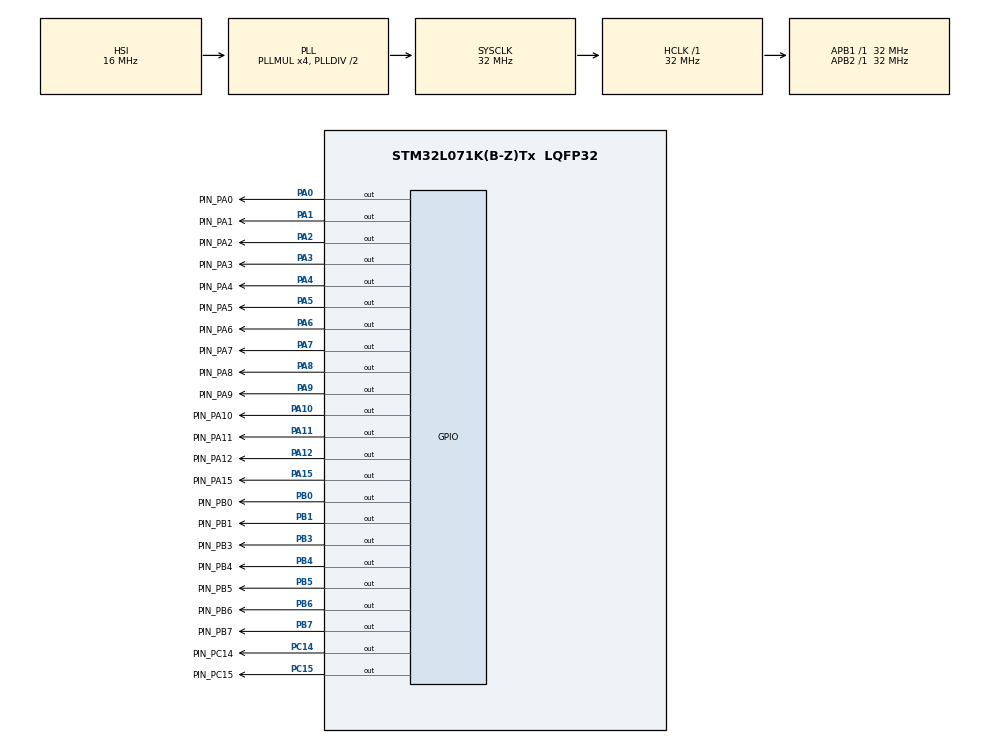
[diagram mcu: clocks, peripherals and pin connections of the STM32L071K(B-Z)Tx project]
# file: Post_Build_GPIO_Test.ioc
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Mcu.Family=STM32L0
Mcu.Name=STM32L071K(B-Z)Tx
Mcu.Package=LQFP32
PA0.GPIO_Label=PIN_PA0
PA0.GPIO_Speed=GPIO_SPEED_FREQ_VERY_HIGH
PA0.Signal=GPIO_Output
PA1.GPIO_Label=PIN_PA1
PA1.GPIO_Speed=GPIO_SPEED_FREQ_VERY_HIGH
PA1.Signal=GPIO_Output
PA10.GPIO_Label=PIN_PA10
PA10.GPIO_Speed=GPIO_SPEED_FREQ_VERY_HIGH
PA10.Signal=GPIO_Output
PA11.GPIO_Label=PIN_PA11
PA11.GPIO_Speed=GPIO_SPEED_FREQ_VERY_HIGH
PA11.Signal=GPIO_Output
PA12.GPIO_Label=PIN_PA12
PA12.GPIO_Speed=GPIO_SPEED_FREQ_VERY_HIGH
PA12.Signal=GPIO_Output
PA13.Mode=Serial_Wire
PA13.Signal=SYS_SWDIO
PA14.Mode=Serial_Wire
PA14.Signal=SYS_SWCLK
PA15.GPIO_Label=PIN_PA15
PA15.GPIO_Speed=GPIO_SPEED_FREQ_VERY_HIGH
PA15.Signal=GPIO_Output
PA2.GPIO_Label=PIN_PA2
PA2.GPIO_Speed=GPIO_SPEED_FREQ_VERY_HIGH
PA2.Signal=GPIO_Output
PA3.GPIO_Label=PIN_PA3
PA3.GPIO_Speed=GPIO_SPEED_FREQ_VERY_HIGH
PA3.Signal=GPIO_Output
PA4.GPIO_Label=PIN_PA4
PA4.GPIO_Speed=GPIO_SPEED_FREQ_VERY_HIGH
PA4.Signal=GPIO_Output
PA5.GPIO_Label=PIN_PA5
PA5.GPIO_Speed=GPIO_SPEED_FREQ_VERY_HIGH
PA5.Signal=GPIO_Output
PA6.GPIO_Label=PIN_PA6
PA6.GPIO_Speed=GPIO_SPEED_FREQ_VERY_HIGH
PA6.Signal=GPIO_Output
PA7.GPIO_Label=PIN_PA7
PA7.GPIO_Speed=GPIO_SPEED_FREQ_VERY_HIGH
PA7.Signal=GPIO_Output
PA8.GPIO_Label=PIN_PA8
PA8.GPIO_Speed=GPIO_SPEED_FREQ_VERY_HIGH
PA8.Signal=GPIO_Output
PA9.GPIO_Label=PIN_PA9
PA9.GPIO_Speed=GPIO_SPEED_FREQ_VERY_HIGH
PA9.Signal=GPIO_Output
PB0.GPIO_Label=PIN_PB0
PB0.GPIO_Speed=GPIO_SPEED_FREQ_VERY_HIGH
PB0.Signal=GPIO_Output
PB1.GPIO_Label=PIN_PB1
PB1.GPIO_Speed=GPIO_SPEED_FREQ_VERY_HIGH
PB1.Signal=GPIO_Output
PB3.GPIO_Label=PIN_PB3
PB3.GPIO_Speed=GPIO_SPEED_FREQ_VERY_HIGH
PB3.Signal=GPIO_Output
PB4.GPIO_Label=PIN_PB4
PB4.GPIO_Speed=GPIO_SPEED_FREQ_VERY_HIGH
PB4.Signal=GPIO_Output
PB5.GPIO_Label=PIN_PB5
PB5.GPIO_Speed=GPIO_SPEED_FREQ_VERY_HIGH
PB5.Signal=GPIO_Output
PB6.GPIO_FM6=__NULL
PB6.GPIO_Label=PIN_PB6
PB6.GPIO_Speed=GPIO_SPEED_FREQ_VERY_HIGH
PB6.Signal=GPIO_Output
PB7.GPIO_Label=PIN_PB7
PB7.GPIO_Speed=GPIO_SPEED_FREQ_VERY_HIGH
PB7.Signal=GPIO_Output
PC14-OSC32_IN.GPIO_Label=PIN_PC14
PC14-OSC32_IN.GPIO_Speed=GPIO_SPEED_FREQ_VERY_HIGH
PC14-OSC32_IN.Signal=GPIO_Output
PC15-OSC32_OUT.GPIO_Label=PIN_PC15
PC15-OSC32_OUT.GPIO_Speed=GPIO_SPEED_FREQ_VERY_HIGH
PC15-OSC32_OUT.Signal=GPIO_Output
ProjectManager.HeapSize=0x200
ProjectManager.StackSize=0x400
ProjectManager.TargetToolchain=STM32CubeIDE
RCC.AHBFreq_Value=32000000
RCC.APB1Freq_Value=32000000
RCC.APB1TimFreq_Value=32000000
RCC.APB2Freq_Value=32000000
RCC.APB2TimFreq_Value=32000000
RCC.HCLKFreq_Value=32000000
RCC.HSI16_VALUE=16000000
RCC.HSI_VALUE=16000000
RCC.LSE_VALUE=32768
RCC.MSI_VALUE=2097000
RCC.PLLMUL=RCC_PLLMUL_4
RCC.SYSCLKFreq_VALUE=32000000
RCC.SYSCLKSource=RCC_SYSCLKSOURCE_PLLCLK
RCC.VCOOutputFreq_Value=64000000
board=custom

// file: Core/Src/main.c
/* USER CODE BEGIN Header */

/*
 * MJM Post Build Test Code for GPIO
 * 2021
 *
 */

/**
  ******************************************************************************
  * @file           : main.c
  * @brief          : Main program body
  ******************************************************************************
  * @attention
  *
  * <h2><center>&copy; Copyright (c) 2021 STMicroelectronics.
  * All rights reserved.</center></h2>
  *
  * This software component is licensed by ST under BSD 3-Clause license,
  * the "License"; You may not use this file except in compliance with the
  * License. You may obtain a copy of the License at:
  *                        opensource.org/licenses/BSD-3-Clause
  *
  ******************************************************************************
  */
/* USER CODE END Header */
#include "main.h"
#include "gpio.h"

/* USER CODE BEGIN PTD */

typedef struct {
	GPIO_TypeDef *GPIOx;
	uint16_t GPIO_Pin;
} pinmap;

/* USER CODE END PTD */

void SystemClock_Config(void);

int main(void)
{

  /* MCU Configuration--------------------------------------------------------*/

  /* Reset of all peripherals, Initializes the Flash interface and the Systick. */
  HAL_Init();

  /* Configure the system clock */
  SystemClock_Config();

  /* Initialize all configured peripherals */
  MX_GPIO_Init();
  /* USER CODE BEGIN 2 */

  /* TEST GPIO STRUCT ARRAY */
  pinmap pm[23] =
  {
	  {PIN_PA0_GPIO_Port,  PIN_PA0_Pin},
	  {PIN_PA1_GPIO_Port,  PIN_PA1_Pin},
	  {PIN_PA2_GPIO_Port,  PIN_PA2_Pin},
	  {PIN_PA3_GPIO_Port,  PIN_PA3_Pin},
	  {PIN_PA4_GPIO_Port,  PIN_PA4_Pin},
	  {PIN_PA5_GPIO_Port,  PIN_PA5_Pin},
	  {PIN_PA6_GPIO_Port,  PIN_PA6_Pin},
	  {PIN_PA7_GPIO_Port,  PIN_PA7_Pin},
	  {PIN_PA8_GPIO_Port,  PIN_PA8_Pin},
	  {PIN_PA9_GPIO_Port,  PIN_PA9_Pin},
	  {PIN_PA10_GPIO_Port, PIN_PA10_Pin},
	  {PIN_PA11_GPIO_Port, PIN_PA11_Pin},
	  {PIN_PA12_GPIO_Port, PIN_PA12_Pin},
	  //{PIN_PA13_GPIO_Port, PIN_PA13_Pin},
	  //{PIN_PA14_GPIO_Port, PIN_PA14_Pin},
	  {PIN_PA15_GPIO_Port, PIN_PA15_Pin},
	  {PIN_PB0_GPIO_Port,  PIN_PB0_Pin},
	  {PIN_PB1_GPIO_Port,  PIN_PB1_Pin},
	  {PIN_PB3_GPIO_Port,  PIN_PB3_Pin},
	  {PIN_PB4_GPIO_Port,  PIN_PB4_Pin},
	  {PIN_PB5_GPIO_Port,  PIN_PB5_Pin},
	  {PIN_PB6_GPIO_Port,  PIN_PB6_Pin},
	  {PIN_PB7_GPIO_Port,  PIN_PB7_Pin},
	  {PIN_PC14_GPIO_Port, PIN_PC14_Pin},
	  {PIN_PC15_GPIO_Port, PIN_PC15_Pin},
  };

  /* USER CODE END 2 */

  /* Infinite loop */
  while (1)
  {

    /* USER CODE BEGIN 3 */

	  for(int i = 0; i < 23; i++) {
		  HAL_GPIO_TogglePin(pm[i].GPIOx, pm[i].GPIO_Pin); //should toggle all pins forever
		  __NOP(); //add breakpoint
	  }

  }
  /* USER CODE END 3 */
}

void SystemClock_Config(void)
{
  RCC_OscInitTypeDef RCC_OscInitStruct = {0};
  RCC_ClkInitTypeDef RCC_ClkInitStruct = {0};

  /** Configure the main internal regulator output voltage
  */
  __HAL_PWR_VOLTAGESCALING_CONFIG(PWR_REGULATOR_VOLTAGE_SCALE1);
  /** Initializes the RCC Oscillators according to the specified parameters
  * in the RCC_OscInitTypeDef structure.
  */
  RCC_OscInitStruct.OscillatorType = RCC_OSCILLATORTYPE_HSI;
  RCC_OscInitStruct.HSIState = RCC_HSI_ON;
  RCC_OscInitStruct.HSICalibrationValue = RCC_HSICALIBRATION_DEFAULT;
  RCC_OscInitStruct.PLL.PLLState = RCC_PLL_ON;
  RCC_OscInitStruct.PLL.PLLSource = RCC_PLLSOURCE_HSI;
  RCC_OscInitStruct.PLL.PLLMUL = RCC_PLLMUL_4;
  RCC_OscInitStruct.PLL.PLLDIV = RCC_PLLDIV_2;
  if (HAL_RCC_OscConfig(&RCC_OscInitStruct) != HAL_OK)
  {
    Error_Handler();
  }
  /** Initializes the CPU, AHB and APB buses clocks
  */
  RCC_ClkInitStruct.ClockType = RCC_CLOCKTYPE_HCLK|RCC_CLOCKTYPE_SYSCLK
                              |RCC_CLOCKTYPE_PCLK1|RCC_CLOCKTYPE_PCLK2;
  RCC_ClkInitStruct.SYSCLKSource = RCC_SYSCLKSOURCE_PLLCLK;
  RCC_ClkInitStruct.AHBCLKDivider = RCC_SYSCLK_DIV1;
  RCC_ClkInitStruct.APB1CLKDivider = RCC_HCLK_DIV1;
  RCC_ClkInitStruct.APB2CLKDivider = RCC_HCLK_DIV1;

  if (HAL_RCC_ClockConfig(&RCC_ClkInitStruct, FLASH_LATENCY_1) != HAL_OK)
  {
    Error_Handler();
  }
}

void Error_Handler(void)
{
  __disable_irq();
  while (1)
  {
  }
}

/************************ (C) COPYRIGHT STMicroelectronics *****END OF FILE****/
